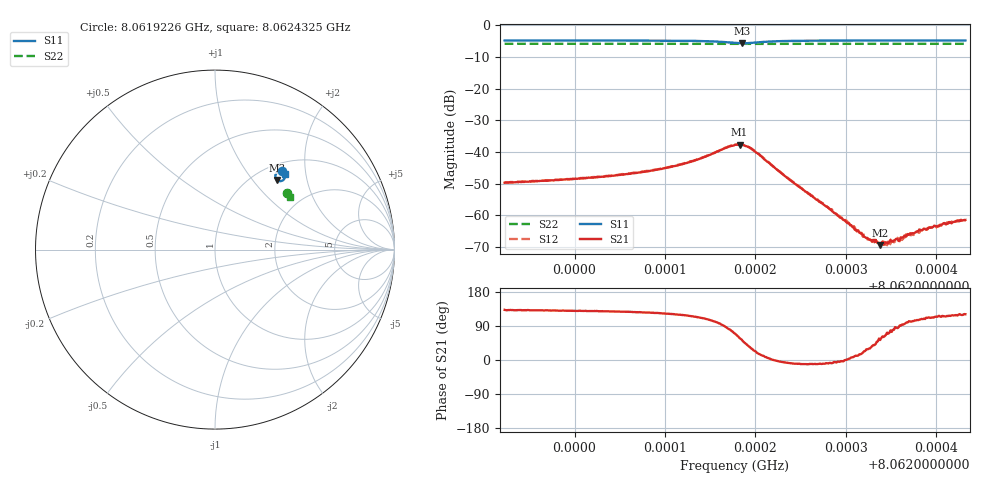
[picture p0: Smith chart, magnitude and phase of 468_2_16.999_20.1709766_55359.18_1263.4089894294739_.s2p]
#  HZ  S  RI  R  50.00
! Rohde & Schwarz Vector Network Analyzer
! Rohde-Schwarz,ZNB20-2Port,1311601062101988,3.16
! Created: UTC 3/20/2024, 11:13:03 PM
! freq[Hz]  re:S11  im:S11  re:S21  im:S21  re:S12  im:S12  re:S22  im:S22
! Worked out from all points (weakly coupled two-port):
!   401 points, 8.0619226 GHz to 8.0624325 GHz, reference 50 ohm
!   highest |S21| = -37.66 dB at 8.0621827 GHz (marker M1); lowest = -69.4 dB at 8.0623382 GHz (marker M2)
!   lowest |S11| = -5.7 dB at 8.0621852 GHz (marker M3), VSWR 3.16, Z = 63.2 + j67.1 ohm
!   |S11| at or under -10 dB: nowhere
!   |S22| runs from -5.9 to -5.8 dB; largest |S21 - S12| = 0.00089
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8.06192261e9  0.372 0.4398  -0.00219 0.0024  -0.00203 0.00257  0.4012 0.3159
8.06200802e9  0.3784 0.4339  -0.00243 0.00294  -0.00226 0.00312  0.4042 0.3114
8.06204754e9  0.3819 0.43  -0.00261 0.0034  -0.00242 0.00359  0.4056 0.3095
8.06209343e9  0.3863 0.4235  -0.00296 0.00444  -0.00271 0.00462  0.4073 0.307
8.06213294e9  0.3901 0.4117  -0.00303 0.00667  -0.00263 0.00692  0.4087 0.3046
8.06217756e9  0.3615 0.3814  0.00455 0.0122  0.00524 0.0119  0.4086 0.3015
8.06218266e9  0.3512 0.3842  0.007 0.0111  0.00757 0.0108  0.4083 0.3016
8.06218521e9  0.3462 0.3872  0.0077 0.0103  0.00848 0.00985  0.408 0.3016
8.06219923e9  0.3365 0.4133  0.00941 0.00416  0.00976 0.00355  0.4085 0.3021
8.06222983e9  0.3578 0.435  0.00447 -0.000424  0.00449 -0.000671  0.4109 0.3014
8.06226297e9  0.3709 0.4347  0.00198 -0.000361  0.00194 -0.00049  0.4125 0.2996
8.06232288e9  0.3813 0.4303  0.000383 0.000207  0.000435 0.000179  0.4149 0.2964
8.06232671e9  0.3818 0.4299  0.000354 0.000208  0.000369 0.000172  0.4149 0.2961
8.06233308e9  0.3827 0.4294  0.00031 0.000278  0.000301 0.000241  0.4153 0.2957
8.06233818e9  0.3831 0.429  0.000205 0.000271  0.000218 0.000286  0.4154 0.2955
8.06234838e9  0.3843 0.4284  0.000119 0.000361  9.66e-05 0.000309  0.4158 0.2948
8.06235858e9  0.3852 0.4276  2.46e-05 0.00039  6.82e-05 0.000418  0.4162 0.2945
8.06236112e9  0.3855 0.4275  -6.59e-06 0.000446  2.81e-05 0.000461  0.4163 0.2943
8.06236877e9  0.3862 0.4269  -8.16e-05 0.000497  -3.23e-05 0.00049  0.4165 0.2939
8.06239427e9  0.3884 0.4253  -0.000229 0.000591  -0.000233 0.000607  0.4176 0.2925
8.06242741e9  0.391 0.4234  -0.000408 0.000724  -0.000336 0.000744  0.4187 0.291
8.06243251e9  0.3912 0.423  -0.000431 0.000724  -0.000373 0.000733  0.4189 0.2905
